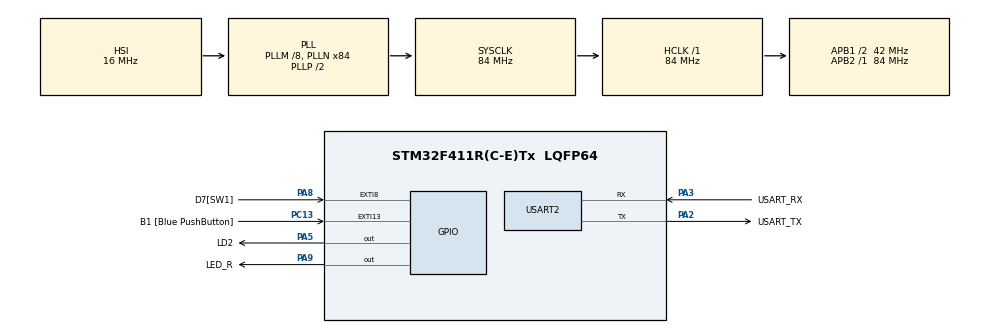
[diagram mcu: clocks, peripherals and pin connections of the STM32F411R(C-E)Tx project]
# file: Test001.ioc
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Mcu.Family=STM32F4
Mcu.Name=STM32F411R(C-E)Tx
Mcu.Package=LQFP64
NVIC.EXTI15_10_IRQn=true\:0\:0\:false\:false\:true\:true\:true\:true
NVIC.EXTI9_5_IRQn=true\:0\:0\:false\:false\:true\:true\:true\:true
NVIC.PriorityGroup=NVIC_PRIORITYGROUP_0
PA13.GPIO_Label=TMS
PA13.Mode=Serial_Wire
PA13.Signal=SYS_JTMS-SWDIO
PA14.GPIO_Label=TCK
PA14.Mode=Serial_Wire
PA14.Signal=SYS_JTCK-SWCLK
PA2.GPIO_Label=USART_TX
PA2.Mode=Asynchronous
PA2.Signal=USART2_TX
PA3.GPIO_Label=USART_RX
PA3.Mode=Asynchronous
PA3.Signal=USART2_RX
PA5.GPIO_Label=LD2
PA5.Signal=GPIO_Output
PA8.GPIO_Label=D7[SW1]
PA8.GPIO_ModeDefaultEXTI=GPIO_MODE_IT_RISING
PA8.Signal=GPXTI8
PA9.GPIO_Label=LED_R
PA9.Signal=GPIO_Output
PB3.GPIO_Label=SWO
PB3.Signal=SYS_JTDO-SWO
PC13-ANTI_TAMP.GPIO_Label=B1 [Blue PushButton]
PC13-ANTI_TAMP.GPIO_ModeDefaultEXTI=GPIO_MODE_IT_RISING
PC13-ANTI_TAMP.Signal=GPXTI13
PC14-OSC32_IN.Mode=LSE-External-Oscillator
PC14-OSC32_IN.Signal=RCC_OSC32_IN
PC15-OSC32_OUT.Mode=LSE-External-Oscillator
PC15-OSC32_OUT.Signal=RCC_OSC32_OUT
PH0\ -\ OSC_IN.Mode=HSE-External-Clock-Source
PH0\ -\ OSC_IN.Signal=RCC_OSC_IN
PH1\ -\ OSC_OUT.Mode=HSE-External-Clock-Source
PH1\ -\ OSC_OUT.Signal=RCC_OSC_OUT
ProjectManager.HeapSize=0x200
ProjectManager.StackSize=0x400
ProjectManager.TargetToolchain=STM32CubeIDE
RCC.48MHZClocksFreq_Value=42000000
RCC.AHBFreq_Value=84000000
RCC.APB1CLKDivider=RCC_HCLK_DIV2
RCC.APB1Freq_Value=42000000
RCC.APB1TimFreq_Value=84000000
RCC.APB2Freq_Value=84000000
RCC.APB2TimFreq_Value=84000000
RCC.CortexFreq_Value=84000000
RCC.FLatency-AdvancedSettings=FLASH_LATENCY_2
RCC.HCLKFreq_Value=84000000
RCC.HSE_VALUE=8000000
RCC.HSI_VALUE=16000000
RCC.PLLM=8
RCC.PLLN=84
RCC.SYSCLKFreq_VALUE=84000000
RCC.SYSCLKSource=RCC_SYSCLKSOURCE_PLLCLK
RCC.VCOOutputFreq_Value=168000000
USART2.VirtualMode=VM_ASYNC
board=NUCLEO-F411RE

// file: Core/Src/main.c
/* USER CODE BEGIN Header */
/**
  ******************************************************************************
  * @file           : main.c
  * @brief          : Main program body
  ******************************************************************************
  * @attention
  *
  * Copyright (c) 2024 STMicroelectronics.
  * All rights reserved.
  *
  * This software is licensed under terms that can be found in the LICENSE file
  * in the root directory of this software component.
  * If no LICENSE file comes with this software, it is provided AS-IS.
  *
  ******************************************************************************
  */
/* USER CODE END Header */
#include "main.h"

/* USER CODE BEGIN Includes */
#include <stdio.h>
/* USER CODE END Includes */

UART_HandleTypeDef huart2;

void SystemClock_Config(void);
static void MX_GPIO_Init(void);
static void MX_USART2_UART_Init(void);

/* USER CODE BEGIN 0 */
//void Standby()
//{
//	while(HAL_GPIO_ReadPin(B1_GPIO_Port, B1_Pin));
//}

volatile int mode = 0;
volatile int speed = 0;
void HAL_GPIO_EXTI_Callback(uint16_t GPIO_Pin)
{
	switch(GPIO_Pin)
	{
	case GPIO_PIN_13:
		mode =  mode ? 0 : 1;
		break;
	case GPIO_PIN_8:
		speed += 100;
		break;
	}
}

/* USER CODE END 0 */

int main(void)
{

  /* MCU Configuration--------------------------------------------------------*/

  /* Reset of all peripherals, Initializes the Flash interface and the Systick. */
  HAL_Init();

  /* Configure the system clock */
  SystemClock_Config();

  /* Initialize all configured peripherals */
  MX_GPIO_Init();
  MX_USART2_UART_Init();
  /* USER CODE BEGIN 2 */

//  Standby();

  /* USER CODE END 2 */

  /* Infinite loop */
  /* USER CODE BEGIN WHILE */
	while (1)
  {
		if(mode)
		{
		HAL_Delay(100+speed); // mili_second
		HAL_GPIO_WritePin(LED_R_GPIO_Port, LED_R_Pin, 1);
		HAL_Delay(100+speed); // mili_second
		HAL_GPIO_WritePin(LED_R_GPIO_Port, LED_R_Pin, 0);
		}
    /* USER CODE END WHILE */

  }
}

void SystemClock_Config(void)
{
  RCC_OscInitTypeDef RCC_OscInitStruct = {0};
  RCC_ClkInitTypeDef RCC_ClkInitStruct = {0};

  /** Configure the main internal regulator output voltage
  */
  __HAL_RCC_PWR_CLK_ENABLE();
  __HAL_PWR_VOLTAGESCALING_CONFIG(PWR_REGULATOR_VOLTAGE_SCALE1);

  /** Initializes the RCC Oscillators according to the specified parameters
  * in the RCC_OscInitTypeDef structure.
  */
  RCC_OscInitStruct.OscillatorType = RCC_OSCILLATORTYPE_HSI;
  RCC_OscInitStruct.HSIState = RCC_HSI_ON;
  RCC_OscInitStruct.HSICalibrationValue = RCC_HSICALIBRATION_DEFAULT;
  RCC_OscInitStruct.PLL.PLLState = RCC_PLL_ON;
  RCC_OscInitStruct.PLL.PLLSource = RCC_PLLSOURCE_HSI;
  RCC_OscInitStruct.PLL.PLLM = 8;
  RCC_OscInitStruct.PLL.PLLN = 84;
  RCC_OscInitStruct.PLL.PLLP = RCC_PLLP_DIV2;
  RCC_OscInitStruct.PLL.PLLQ = 4;
  if (HAL_RCC_OscConfig(&RCC_OscInitStruct) != HAL_OK)
  {
    Error_Handler();
  }

  /** Initializes the CPU, AHB and APB buses clocks
  */
  RCC_ClkInitStruct.ClockType = RCC_CLOCKTYPE_HCLK|RCC_CLOCKTYPE_SYSCLK
                              |RCC_CLOCKTYPE_PCLK1|RCC_CLOCKTYPE_PCLK2;
  RCC_ClkInitStruct.SYSCLKSource = RCC_SYSCLKSOURCE_PLLCLK;
  RCC_ClkInitStruct.AHBCLKDivider = RCC_SYSCLK_DIV1;
  RCC_ClkInitStruct.APB1CLKDivider = RCC_HCLK_DIV2;
  RCC_ClkInitStruct.APB2CLKDivider = RCC_HCLK_DIV1;

  if (HAL_RCC_ClockConfig(&RCC_ClkInitStruct, FLASH_LATENCY_2) != HAL_OK)
  {
    Error_Handler();
  }
}

static void MX_USART2_UART_Init(void)
{

  huart2.Instance = USART2;
  huart2.Init.BaudRate = 115200;
  huart2.Init.WordLength = UART_WORDLENGTH_8B;
  huart2.Init.StopBits = UART_STOPBITS_1;
  huart2.Init.Parity = UART_PARITY_NONE;
  huart2.Init.Mode = UART_MODE_TX_RX;
  huart2.Init.HwFlowCtl = UART_HWCONTROL_NONE;
  huart2.Init.OverSampling = UART_OVERSAMPLING_16;
  if (HAL_UART_Init(&huart2) != HAL_OK)
  {
    Error_Handler();
  }

}

static void MX_GPIO_Init(void)
{
  GPIO_InitTypeDef GPIO_InitStruct = {0};

  /* GPIO Ports Clock Enable */
  __HAL_RCC_GPIOC_CLK_ENABLE();
  __HAL_RCC_GPIOH_CLK_ENABLE();
  __HAL_RCC_GPIOA_CLK_ENABLE();
  __HAL_RCC_GPIOB_CLK_ENABLE();

  /*Configure GPIO pin Output Level */
  HAL_GPIO_WritePin(GPIOA, LD2_Pin|LED_R_Pin, GPIO_PIN_RESET);

  /*Configure GPIO pin : B1_Pin */
  GPIO_InitStruct.Pin = B1_Pin;
  GPIO_InitStruct.Mode = GPIO_MODE_IT_RISING;
  GPIO_InitStruct.Pull = GPIO_NOPULL;
  HAL_GPIO_Init(B1_GPIO_Port, &GPIO_InitStruct);

  /*Configure GPIO pins : LD2_Pin LED_R_Pin */
  GPIO_InitStruct.Pin = LD2_Pin|LED_R_Pin;
  GPIO_InitStruct.Mode = GPIO_MODE_OUTPUT_PP;
  GPIO_InitStruct.Pull = GPIO_NOPULL;
  GPIO_InitStruct.Speed = GPIO_SPEED_FREQ_LOW;
  HAL_GPIO_Init(GPIOA, &GPIO_InitStruct);

  /*Configure GPIO pin : D7_Pin */
  GPIO_InitStruct.Pin = D7_Pin;
  GPIO_InitStruct.Mode = GPIO_MODE_IT_RISING;
  GPIO_InitStruct.Pull = GPIO_NOPULL;
  HAL_GPIO_Init(D7_GPIO_Port, &GPIO_InitStruct);

  /* EXTI interrupt init*/
  HAL_NVIC_SetPriority(EXTI9_5_IRQn, 0, 0);
  HAL_NVIC_EnableIRQ(EXTI9_5_IRQn);

  HAL_NVIC_SetPriority(EXTI15_10_IRQn, 0, 0);
  HAL_NVIC_EnableIRQ(EXTI15_10_IRQn);

}

void Error_Handler(void)
{
  __disable_irq();
  while (1)
  {
  }
}
